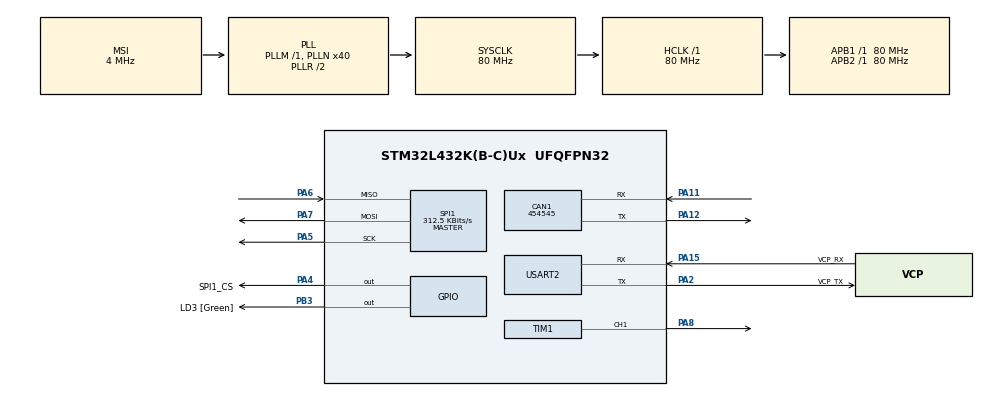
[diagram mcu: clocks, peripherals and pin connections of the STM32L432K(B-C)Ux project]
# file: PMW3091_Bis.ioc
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CAN1.BS1=CAN_BS1_8TQ
CAN1.BS2=CAN_BS2_2TQ
CAN1.CalculateBaudRate=454545
CAN1.CalculateTimeBit=2200
CAN1.CalculateTimeQuantum=200.0
Dma.Request0=TIM1_CH1
Dma.TIM1_CH1.0.Direction=DMA_MEMORY_TO_PERIPH
Dma.TIM1_CH1.0.Instance=DMA1_Channel2
Dma.TIM1_CH1.0.MemDataAlignment=DMA_MDATAALIGN_WORD
Dma.TIM1_CH1.0.MemInc=DMA_MINC_ENABLE
Dma.TIM1_CH1.0.Mode=DMA_NORMAL
Dma.TIM1_CH1.0.PeriphDataAlignment=DMA_PDATAALIGN_WORD
Dma.TIM1_CH1.0.PeriphInc=DMA_PINC_DISABLE
Dma.TIM1_CH1.0.Priority=DMA_PRIORITY_VERY_HIGH
Mcu.Family=STM32L4
Mcu.Name=STM32L432K(B-C)Ux
Mcu.Package=UFQFPN32
NVIC.CAN1_RX0_IRQn=true\:0\:0\:false\:false\:true\:true\:true\:true
NVIC.CAN1_RX1_IRQn=true\:0\:0\:false\:false\:true\:true\:true\:true
NVIC.CAN1_SCE_IRQn=true\:0\:0\:false\:false\:true\:true\:true\:true
NVIC.CAN1_TX_IRQn=true\:0\:0\:false\:false\:true\:true\:true\:true
NVIC.DMA1_Channel2_IRQn=true\:0\:0\:false\:false\:true\:false\:true\:true
NVIC.PriorityGroup=NVIC_PRIORITYGROUP_4
PA0.GPIO_Label=MCO [High speed clock in]
PA0.Mode=HSE-External-Clock-Source-for-LittleOrca
PA0.Signal=RCC_CK_IN
PA11.Mode=CAN_Activate
PA11.Signal=CAN1_RX
PA12.Mode=CAN_Activate
PA12.Signal=CAN1_TX
PA13\ (JTMS-SWDIO).GPIO_Label=SWDIO
PA13\ (JTMS-SWDIO).Mode=Serial_Wire
PA13\ (JTMS-SWDIO).Signal=SYS_JTMS-SWDIO
PA14\ (JTCK-SWCLK).GPIO_Label=SWCLK
PA14\ (JTCK-SWCLK).Mode=Serial_Wire
PA14\ (JTCK-SWCLK).Signal=SYS_JTCK-SWCLK
PA15\ (JTDI).GPIO_Label=VCP_RX
PA15\ (JTDI).Mode=Asynchronous
PA15\ (JTDI).Signal=USART2_RX
PA2.GPIO_Label=VCP_TX
PA2.Mode=Asynchronous
PA2.Signal=USART2_TX
PA4.GPIO_Label=SPI1_CS
PA4.Signal=GPIO_Output
PA5.Mode=Full_Duplex_Master
PA5.Signal=SPI1_SCK
PA6.Mode=Full_Duplex_Master
PA6.Signal=SPI1_MISO
PA7.Mode=Full_Duplex_Master
PA7.Signal=SPI1_MOSI
PA8.Signal=S_TIM1_CH1
PB3\ (JTDO-TRACESWO).GPIO_Label=LD3 [Green]
PB3\ (JTDO-TRACESWO).Signal=GPIO_Output
PC14-OSC32_IN\ (PC14).Mode=LSE-External-Oscillator
PC14-OSC32_IN\ (PC14).Signal=RCC_OSC32_IN
PC15-OSC32_OUT\ (PC15).Mode=LSE-External-Oscillator
PC15-OSC32_OUT\ (PC15).Signal=RCC_OSC32_OUT
ProjectManager.HeapSize=0x200
ProjectManager.StackSize=0x400
ProjectManager.TargetToolchain=STM32CubeIDE
RCC.AHBFreq_Value=80000000
RCC.APB1Freq_Value=80000000
RCC.APB1TimFreq_Value=80000000
RCC.APB2Freq_Value=80000000
RCC.APB2TimFreq_Value=80000000
RCC.CortexFreq_Value=80000000
RCC.HCLKFreq_Value=80000000
RCC.HSE_VALUE=8000000
RCC.HSI16_VALUE=16000000
RCC.HSI48_VALUE=48000000
RCC.HSI_VALUE=16000000
RCC.MSI_VALUE=4000000
RCC.PLLMUL=RCC_PLLMUL_4
RCC.PLLN=40
RCC.SYSCLKFreq_VALUE=80000000
RCC.SYSCLKSource=RCC_SYSCLKSOURCE_PLLCLK
RCC.VCOOutputFreq_Value=160000000
SH.S_TIM1_CH1.0=TIM1_CH1,PWM Generation1 CH1
SPI1.BaudRatePrescaler=SPI_BAUDRATEPRESCALER_256
SPI1.CalculateBaudRate=312.5 KBits/s
SPI1.DataSize=SPI_DATASIZE_8BIT
SPI1.Direction=SPI_DIRECTION_2LINES
SPI1.Mode=SPI_MODE_MASTER
SPI1.VirtualType=VM_MASTER
TIM1.Channel-PWM\ Generation1\ CH1=TIM_CHANNEL_1
TIM1.Period=95
USART2.VirtualMode-Asynchronous=VM_ASYNC
VP_TIM1_VS_ClockSourceINT.Mode=Internal
board=NUCLEO-L432KC

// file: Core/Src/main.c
/* USER CODE BEGIN Header */
/**
  ******************************************************************************
  * @file           : main.c
  * @brief          : Main program body
  ******************************************************************************
  * @attention
  *
  * <h2><center>&copy; Copyright (c) 2022 STMicroelectronics.
  * All rights reserved.</center></h2>
  *
  * This software component is licensed by ST under BSD 3-Clause license,
  * the "License"; You may not use this file except in compliance with the
  * License. You may obtain a copy of the License at:
  *                        opensource.org/licenses/BSD-3-Clause
  *
  ******************************************************************************
  */
/* USER CODE END Header */
#include "main.h"

/* USER CODE BEGIN Includes */

#include "stdio.h"

#include "../../PMW3901/PMW3901.h"

#include "can.h"

#define COEF_CAPTEUR_Petit_Robot_X  0.25 // permet de convertir en mm les valeurs de Variations du capteur du petit robot
#define COEF_CAPTEUR_Petit_Robot_Y	0.25

/* USER CODE END Includes */

/* USER CODE BEGIN PTD */
typedef union
{
  struct
  {
    uint8_t b;
    uint8_t r;
    uint8_t g;
  } color;
  uint32_t data;
} PixelRGB_t;
/* USER CODE END PTD */

/* USER CODE BEGIN PD */
#define NEOPIXEL_ZERO 31
#define NEOPIXEL_ONE 61
#define	NUM_PIXELS 12
#define DMA_BUFF_SIZE (NUM_PIXELS * 24) + 1

#define COLOR_RED (int[]){255, 0, 0}
#define COLOR_GREEN (int[]){0, 255, 0}
#define COLOR_BLUE (int[]){0, 0, 255}
#define COLOR_CYAN (int[]){0, 255, 255}
#define COLOR_MAGENTA (int[]){255, 0, 255}
#define COLOR_YELLOW (int[]){255, 255, 0}
#define COLOR_WHITE (int[]){255, 255, 255}

#define INTENSITY_VERY_LOW 7
#define INTENSITY_LOW 6
#define INTENSITY_MIDDLE 4
#define INTENSITY_HIGH 2
#define INTENSITY_VERY_HIGH 0
/* USER CODE END PD */

CAN_HandleTypeDef hcan1;

SPI_HandleTypeDef hspi1;

TIM_HandleTypeDef htim1;
DMA_HandleTypeDef hdma_tim1_ch1;

UART_HandleTypeDef huart2;

/* USER CODE BEGIN PV */

char buffer[1024]; // Initialisation d'une variable de stockage
uint16_t Tx_len;
PMW3901_Status_t status;
int16_t var_x,var_y; // Initialisation de la variation

float posX = 0; // Initialisation des variables de position
float posY = 0;

float dx = 0; // Initialisation des variables de déplacement
float dy = 0;

PMW3901_Descriptor_t PMW3901_Descriptor = {
		.hspi = &hspi1,
		.CS_Port = SPI1_CS_GPIO_Port,
		.CS_Pin = SPI1_CS_Pin
}; // Initialise le port SPI

/* USER CODE END PV */

void SystemClock_Config(void);
static void MX_GPIO_Init(void);
static void MX_DMA_Init(void);
static void MX_USART2_UART_Init(void);
static void MX_SPI1_Init(void);
static void MX_TIM1_Init(void);
static void MX_CAN1_Init(void);

/* USER CODE BEGIN 0 */
void HAL_TIM_PWM_PulseFinishedCallback(TIM_HandleTypeDef *htim)
{
  HAL_TIM_PWM_Stop_DMA(htim, TIM_CHANNEL_1);
}

void NEOPIXELS_SETUP(PixelRGB_t pixel[], uint32_t *dmaBuffer, uint32_t *pBuff, int numPixelsOn, int k, int modulo, int color[], int intensity)
{
	for (int i = (NUM_PIXELS - 1); i > 0; i--)
	{
		pixel[i].data = pixel[i-1].data;
	}

	if((k % modulo) != 0)
	{
		pixel[0].color.r = 0;
		pixel[0].color.g = 0;
		pixel[0].color.b = 0;
	}

	else
	{
		pixel[0].color.r = color[0];
		pixel[0].color.g = color[1];
		pixel[0].color.b = color[2];
	}

	pixel[0].color.g >>= intensity;
	pixel[0].color.r >>= intensity;
	pixel[0].color.b >>= intensity;

	pBuff = dmaBuffer;

	for (int i = 0; i < numPixelsOn; i++)
	{
		for (int j = 23; j >= 0; j--)
	    {
			if (((pixel[i].data >> j) & 0x01) && ((k % modulo) == 0))
	        {
				*pBuff = NEOPIXEL_ONE;
	        }
	        else
	        {
	        	*pBuff = NEOPIXEL_ZERO;
	        }
	        pBuff++;
	     }
	 }
	 dmaBuffer[DMA_BUFF_SIZE - 1] = 0;
}
/* USER CODE END 0 */

int main(void)
{
  /* USER CODE BEGIN 1 */
	PixelRGB_t pixel[NUM_PIXELS] = {0};
	  uint32_t dmaBuffer[DMA_BUFF_SIZE] = {0};
	  uint32_t *pBuff = NULL;
	  int k, modulo, numPixelsOff = 0, numPixelsOn;
  /* USER CODE END 1 */

  /* MCU Configuration--------------------------------------------------------*/

  /* Reset of all peripherals, Initializes the Flash interface and the Systick. */
  HAL_Init();

  /* Configure the system clock */
  SystemClock_Config();

  /* Initialize all configured peripherals */
  MX_GPIO_Init();
  MX_DMA_Init();
  MX_USART2_UART_Init();
  MX_SPI1_Init();
  MX_TIM1_Init();
  MX_CAN1_Init();
  /* USER CODE BEGIN 2 */

  Tx_len = sprintf (buffer, "init\r\n"); // Début initialisation + écriture de "init"
  HAL_UART_Transmit(&huart2,(uint8_t*) buffer, Tx_len, 100); // Permet d'écrire en uart le tx_len : Va écrire dans le terminal ; "init"

  status = PMW3901_Init(&PMW3901_Descriptor); // Permet d'initialiser le capteur optique

  Tx_len = sprintf (buffer, "init status = %d\r\n",status); // Permet d'afficher status qui s'il est égal à 0 veut dire que tout fonctionne
  HAL_UART_Transmit(&huart2, (uint8_t*)buffer, Tx_len, 100); // Permet d'écrire dans le terminal : "init status = " avec le status qui doit être à 0 indiquant que tout fonctionne

  /* USER CODE END 2 */

  /* Infinite loop */
  /* USER CODE BEGIN WHILE */
  numPixelsOn = NUM_PIXELS - numPixelsOff;

    modulo = 2;
    for(int m = 0; m < numPixelsOn; m++)
    {
    	  NEOPIXELS_SETUP(pixel, dmaBuffer, pBuff, numPixelsOn, m, modulo, COLOR_YELLOW, INTENSITY_LOW);
    	  HAL_Delay(100);
    	  HAL_TIM_PWM_Start_DMA(&htim1, TIM_CHANNEL_1, dmaBuffer, DMA_BUFF_SIZE);
    }
    HAL_Delay(1000);

    k = 0;
    modulo = 1;
    for(int m = 0; m < numPixelsOn; m++){
		NEOPIXELS_SETUP(pixel, dmaBuffer, pBuff, numPixelsOn, k, modulo, COLOR_WHITE, INTENSITY_LOW);
		HAL_TIM_PWM_Start_DMA(&htim1, TIM_CHANNEL_1, dmaBuffer, DMA_BUFF_SIZE);
    }
    HAL_Delay(500);
  while (1)
  {
	  for(int m = 0; m < numPixelsOn; m++){
	  		NEOPIXELS_SETUP(pixel, dmaBuffer, pBuff, numPixelsOn, k, modulo, COLOR_WHITE, INTENSITY_LOW);
	  		HAL_TIM_PWM_Start_DMA(&htim1, TIM_CHANNEL_1, dmaBuffer, DMA_BUFF_SIZE);
	      }
	      HAL_Delay(500);
    /* USER CODE END WHILE */

    /* USER CODE BEGIN 3 */

	  status = PMW3901_Read_Variation(&var_x, &var_y); // Permet de lire les valeurs de var_x et var_y

	  dx = COEF_CAPTEUR_Petit_Robot_X * var_x;
	  posX = posX + dx; // Permet de déterminer la position du robot grâce au capteur optique en X

	  dy = COEF_CAPTEUR_Petit_Robot_Y * var_y;
	  posY = posY + dy; // Permet de déterminer la position du robot grâce au capteur optique en Y

	  Tx_len = sprintf (buffer, "Position x = %f\tPosition y = %f\tStatus = %d\r\n",posX,posY,status);
	  HAL_UART_Transmit(&huart2, (uint8_t*)buffer, Tx_len, 100); // Permet d'afficher en uart dans le terminal le posX, posY, status

	  HAL_Delay(10); // Permet de mettre un délai de 10 ms

	  uint8_t canXY[4] = {var_x%256, var_x >> 8, var_y%256, var_y >> 8};

	  status = send(&hcan1, CAN_ADDR_RASPBERRY, FCT_GET_OPTIQUE, canXY, 4, false, 0, 1);
	  Tx_len = sprintf (buffer, "can status = %d\r\n",status);
	  HAL_UART_Transmit(&huart2, (uint8_t*)buffer, Tx_len, 100);
  }
  /* USER CODE END 3 */
}

void SystemClock_Config(void)
{
  RCC_OscInitTypeDef RCC_OscInitStruct = {0};
  RCC_ClkInitTypeDef RCC_ClkInitStruct = {0};

  /** Configure the main internal regulator output voltage
  */
  if (HAL_PWREx_ControlVoltageScaling(PWR_REGULATOR_VOLTAGE_SCALE1) != HAL_OK)
  {
    Error_Handler();
  }
  /** Configure LSE Drive Capability
  */
  HAL_PWR_EnableBkUpAccess();
  __HAL_RCC_LSEDRIVE_CONFIG(RCC_LSEDRIVE_LOW);
  /** Initializes the RCC Oscillators according to the specified parameters
  * in the RCC_OscInitTypeDef structure.
  */
  RCC_OscInitStruct.OscillatorType = RCC_OSCILLATORTYPE_LSE|RCC_OSCILLATORTYPE_MSI;
  RCC_OscInitStruct.LSEState = RCC_LSE_ON;
  RCC_OscInitStruct.MSIState = RCC_MSI_ON;
  RCC_OscInitStruct.MSICalibrationValue = 0;
  RCC_OscInitStruct.MSIClockRange = RCC_MSIRANGE_6;
  RCC_OscInitStruct.PLL.PLLState = RCC_PLL_ON;
  RCC_OscInitStruct.PLL.PLLSource = RCC_PLLSOURCE_MSI;
  RCC_OscInitStruct.PLL.PLLM = 1;
  RCC_OscInitStruct.PLL.PLLN = 40;
  RCC_OscInitStruct.PLL.PLLP = RCC_PLLP_DIV7;
  RCC_OscInitStruct.PLL.PLLQ = RCC_PLLQ_DIV2;
  RCC_OscInitStruct.PLL.PLLR = RCC_PLLR_DIV2;
  if (HAL_RCC_OscConfig(&RCC_OscInitStruct) != HAL_OK)
  {
    Error_Handler();
  }
  /** Initializes the CPU, AHB and APB buses clocks
  */
  RCC_ClkInitStruct.ClockType = RCC_CLOCKTYPE_HCLK|RCC_CLOCKTYPE_SYSCLK
                              |RCC_CLOCKTYPE_PCLK1|RCC_CLOCKTYPE_PCLK2;
  RCC_ClkInitStruct.SYSCLKSource = RCC_SYSCLKSOURCE_PLLCLK;
  RCC_ClkInitStruct.AHBCLKDivider = RCC_SYSCLK_DIV1;
  RCC_ClkInitStruct.APB1CLKDivider = RCC_HCLK_DIV1;
  RCC_ClkInitStruct.APB2CLKDivider = RCC_HCLK_DIV1;

  if (HAL_RCC_ClockConfig(&RCC_ClkInitStruct, FLASH_LATENCY_4) != HAL_OK)
  {
    Error_Handler();
  }
  /** Enable MSI Auto calibration
  */
  HAL_RCCEx_EnableMSIPLLMode();
}

static void MX_CAN1_Init(void)
{

  hcan1.Instance = CAN1;
  hcan1.Init.Prescaler = 16;
  hcan1.Init.Mode = CAN_MODE_NORMAL;
  hcan1.Init.SyncJumpWidth = CAN_SJW_1TQ;
  hcan1.Init.TimeSeg1 = CAN_BS1_8TQ;
  hcan1.Init.TimeSeg2 = CAN_BS2_2TQ;
  hcan1.Init.TimeTriggeredMode = DISABLE;
  hcan1.Init.AutoBusOff = DISABLE;
  hcan1.Init.AutoWakeUp = DISABLE;
  hcan1.Init.AutoRetransmission = DISABLE;
  hcan1.Init.ReceiveFifoLocked = DISABLE;
  hcan1.Init.TransmitFifoPriority = DISABLE;
  if (HAL_CAN_Init(&hcan1) != HAL_OK)
  {
    Error_Handler();
  }

}

static void MX_SPI1_Init(void)
{

  /* SPI1 parameter configuration*/
  hspi1.Instance = SPI1;
  hspi1.Init.Mode = SPI_MODE_MASTER;
  hspi1.Init.Direction = SPI_DIRECTION_2LINES;
  hspi1.Init.DataSize = SPI_DATASIZE_8BIT;
  hspi1.Init.CLKPolarity = SPI_POLARITY_LOW;
  hspi1.Init.CLKPhase = SPI_PHASE_1EDGE;
  hspi1.Init.NSS = SPI_NSS_SOFT;
  hspi1.Init.BaudRatePrescaler = SPI_BAUDRATEPRESCALER_256;
  hspi1.Init.FirstBit = SPI_FIRSTBIT_MSB;
  hspi1.Init.TIMode = SPI_TIMODE_DISABLE;
  hspi1.Init.CRCCalculation = SPI_CRCCALCULATION_DISABLE;
  hspi1.Init.CRCPolynomial = 7;
  hspi1.Init.CRCLength = SPI_CRC_LENGTH_DATASIZE;
  hspi1.Init.NSSPMode = SPI_NSS_PULSE_ENABLE;
  if (HAL_SPI_Init(&hspi1) != HAL_OK)
  {
    Error_Handler();
  }

}

static void MX_TIM1_Init(void)
{

  TIM_ClockConfigTypeDef sClockSourceConfig = {0};
  TIM_MasterConfigTypeDef sMasterConfig = {0};
  TIM_OC_InitTypeDef sConfigOC = {0};
  TIM_BreakDeadTimeConfigTypeDef sBreakDeadTimeConfig = {0};

  htim1.Instance = TIM1;
  htim1.Init.Prescaler = 0;
  htim1.Init.CounterMode = TIM_COUNTERMODE_UP;
  htim1.Init.Period = 95;
  htim1.Init.ClockDivision = TIM_CLOCKDIVISION_DIV1;
  htim1.Init.RepetitionCounter = 0;
  htim1.Init.AutoReloadPreload = TIM_AUTORELOAD_PRELOAD_DISABLE;
  if (HAL_TIM_Base_Init(&htim1) != HAL_OK)
  {
    Error_Handler();
  }
  sClockSourceConfig.ClockSource = TIM_CLOCKSOURCE_INTERNAL;
  if (HAL_TIM_ConfigClockSource(&htim1, &sClockSourceConfig) != HAL_OK)
  {
    Error_Handler();
  }
  if (HAL_TIM_PWM_Init(&htim1) != HAL_OK)
  {
    Error_Handler();
  }
  sMasterConfig.MasterOutputTrigger = TIM_TRGO_RESET;
  sMasterConfig.MasterOutputTrigger2 = TIM_TRGO2_RESET;
  sMasterConfig.MasterSlaveMode = TIM_MASTERSLAVEMODE_DISABLE;
  if (HAL_TIMEx_MasterConfigSynchronization(&htim1, &sMasterConfig) != HAL_OK)
  {
    Error_Handler();
  }
  sConfigOC.OCMode = TIM_OCMODE_PWM1;
  sConfigOC.Pulse = 0;
  sConfigOC.OCPolarity = TIM_OCPOLARITY_HIGH;
  sConfigOC.OCNPolarity = TIM_OCNPOLARITY_HIGH;
  sConfigOC.OCFastMode = TIM_OCFAST_DISABLE;
  sConfigOC.OCIdleState = TIM_OCIDLESTATE_RESET;
  sConfigOC.OCNIdleState = TIM_OCNIDLESTATE_RESET;
  if (HAL_TIM_PWM_ConfigChannel(&htim1, &sConfigOC, TIM_CHANNEL_1) != HAL_OK)
  {
    Error_Handler();
  }
  sBreakDeadTimeConfig.OffStateRunMode = TIM_OSSR_DISABLE;
  sBreakDeadTimeConfig.OffStateIDLEMode = TIM_OSSI_DISABLE;
  sBreakDeadTimeConfig.LockLevel = TIM_LOCKLEVEL_OFF;
  sBreakDeadTimeConfig.DeadTime = 0;
  sBreakDeadTimeConfig.BreakState = TIM_BREAK_DISABLE;
  sBreakDeadTimeConfig.BreakPolarity = TIM_BREAKPOLARITY_HIGH;
  sBreakDeadTimeConfig.BreakFilter = 0;
  sBreakDeadTimeConfig.Break2State = TIM_BREAK2_DISABLE;
  sBreakDeadTimeConfig.Break2Polarity = TIM_BREAK2POLARITY_HIGH;
  sBreakDeadTimeConfig.Break2Filter = 0;
  sBreakDeadTimeConfig.AutomaticOutput = TIM_AUTOMATICOUTPUT_DISABLE;
  if (HAL_TIMEx_ConfigBreakDeadTime(&htim1, &sBreakDeadTimeConfig) != HAL_OK)
  {
    Error_Handler();
  }
  HAL_TIM_MspPostInit(&htim1);

}

static void MX_USART2_UART_Init(void)
{

  huart2.Instance = USART2;
  huart2.Init.BaudRate = 115200;
  huart2.Init.WordLength = UART_WORDLENGTH_8B;
  huart2.Init.StopBits = UART_STOPBITS_1;
  huart2.Init.Parity = UART_PARITY_NONE;
  huart2.Init.Mode = UART_MODE_TX_RX;
  huart2.Init.HwFlowCtl = UART_HWCONTROL_NONE;
  huart2.Init.OverSampling = UART_OVERSAMPLING_16;
  huart2.Init.OneBitSampling = UART_ONE_BIT_SAMPLE_DISABLE;
  huart2.AdvancedInit.AdvFeatureInit = UART_ADVFEATURE_NO_INIT;
  if (HAL_UART_Init(&huart2) != HAL_OK)
  {
    Error_Handler();
  }

}

static void MX_DMA_Init(void)
{

  /* DMA controller clock enable */
  __HAL_RCC_DMA1_CLK_ENABLE();

  /* DMA interrupt init */
  /* DMA1_Channel2_IRQn interrupt configuration */
  HAL_NVIC_SetPriority(DMA1_Channel2_IRQn, 0, 0);
  HAL_NVIC_EnableIRQ(DMA1_Channel2_IRQn);

}

static void MX_GPIO_Init(void)
{
  GPIO_InitTypeDef GPIO_InitStruct = {0};

  /* GPIO Ports Clock Enable */
  __HAL_RCC_GPIOC_CLK_ENABLE();
  __HAL_RCC_GPIOA_CLK_ENABLE();
  __HAL_RCC_GPIOB_CLK_ENABLE();

  /*Configure GPIO pin Output Level */
  HAL_GPIO_WritePin(SPI1_CS_GPIO_Port, SPI1_CS_Pin, GPIO_PIN_RESET);

  /*Configure GPIO pin Output Level */
  HAL_GPIO_WritePin(LD3_GPIO_Port, LD3_Pin, GPIO_PIN_RESET);

  /*Configure GPIO pin : SPI1_CS_Pin */
  GPIO_InitStruct.Pin = SPI1_CS_Pin;
  GPIO_InitStruct.Mode = GPIO_MODE_OUTPUT_PP;
  GPIO_InitStruct.Pull = GPIO_NOPULL;
  GPIO_InitStruct.Speed = GPIO_SPEED_FREQ_LOW;
  HAL_GPIO_Init(SPI1_CS_GPIO_Port, &GPIO_InitStruct);

  /*Configure GPIO pin : LD3_Pin */
  GPIO_InitStruct.Pin = LD3_Pin;
  GPIO_InitStruct.Mode = GPIO_MODE_OUTPUT_PP;
  GPIO_InitStruct.Pull = GPIO_NOPULL;
  GPIO_InitStruct.Speed = GPIO_SPEED_FREQ_LOW;
  HAL_GPIO_Init(LD3_GPIO_Port, &GPIO_InitStruct);

}

void Error_Handler(void)
{
  __disable_irq();
  while (1)
  {
  }
}

/************************ (C) COPYRIGHT STMicroelectronics *****END OF FILE****/
